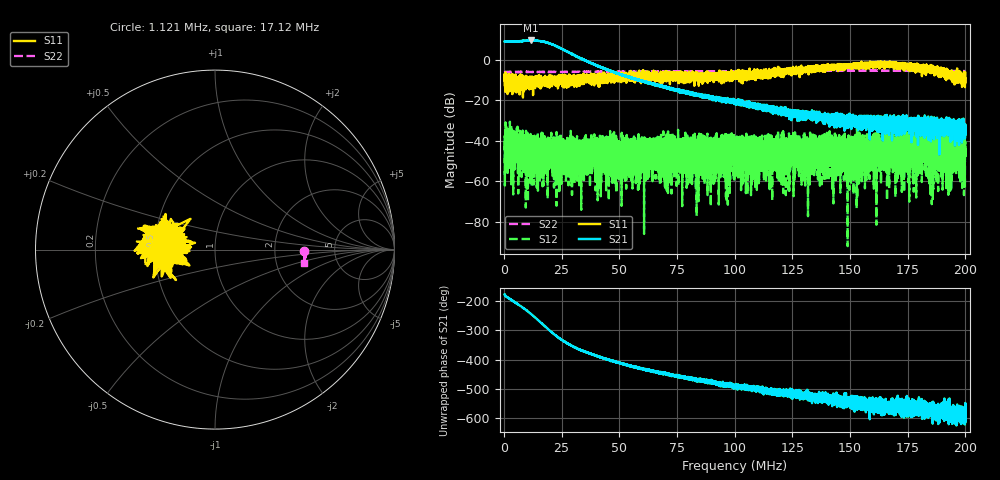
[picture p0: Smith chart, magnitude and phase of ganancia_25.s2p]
# Hz S DB R 50
! CMT, M5065, 19127446, 24.2.4/2
! Date: 10/29/2024 1:16:13 PM
! Data: Format (Calibration Info)
! Freq	S11:dB/Ang(F2)	S21:dB/Ang(F2)	S12:dB/Ang(F2)	S22:dB/Ang(F2)
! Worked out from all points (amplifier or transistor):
!   9000 points, 300 kHz to 200 MHz, reference 50 ohm
!   highest |S21| = 9.6 dB at 11.71 MHz (marker M1)
!   |S21| within 3 dB of that: start of sweep to 22.98 MHz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
!   unconditionally stable (mu >= 1): start of sweep to end of sweep
!   at 33.59 MHz: K = 46.58, MAG = 2.5 dB, |S12| = -43.7 dB
!   at 100.2 MHz: K = 1121.70, MAG = -17.8 dB, |S12| = -51.9 dB
!   at 200 MHz: K = 3315.91, MAG = -30.3 dB, |S12| = -48.7 dB
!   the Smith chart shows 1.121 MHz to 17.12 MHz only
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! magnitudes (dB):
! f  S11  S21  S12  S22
! 300 kHz  -10.6  9.1  -40.1  -6.0
! 9.62 MHz  -10.5  9.4  -42.0  -6.0
! 11.71 MHz  -10.6  9.6  -44.7  -6.0
! 33.59 MHz  -8.7  0.6  -43.7  -5.9
! 66.87 MHz  -9.2  -12.5  -41.2  -5.8
! 78.5 MHz  -8.1  -15.8  -41.6  -5.7
! 80.52 MHz  -8.3  -16.1  -61.8  -5.7
! 85.05 MHz  -9.9  -17.5  -52.5  -5.7
! 100.2 MHz  -5.7  -20.5  -51.9  -5.7
! 109.2 MHz  -7.9  -22.7  -52.6  -5.6
! 117.9 MHz  -6.1  -24.4  -52.0  -5.5
! 121.2 MHz  -8.5  -25.2  -58.7  -5.6
! 124.8 MHz  -4.2  -25.9  -47.0  -5.5
! 131.3 MHz  -5.8  -27.1  -45.5  -5.5
! 133.4 MHz  -4.0  -27.5  -42.4  -5.4
! 145.6 MHz  -3.5  -28.4  -50.3  -5.4
! 147.4 MHz  -3.5  -30.1  -49.0  -5.3
! 153.9 MHz  -3.6  -33.0  -41.7  -5.3
! 155.3 MHz  -2.3  -31.1  -42.6  -5.3
! 166.7 MHz  -2.9  -30.0  -45.4  -5.4
! 195 MHz  -7.7  -32.6  -45.6  -5.5
! 200 MHz  -6.3  -32.9  -48.7  -5.5
